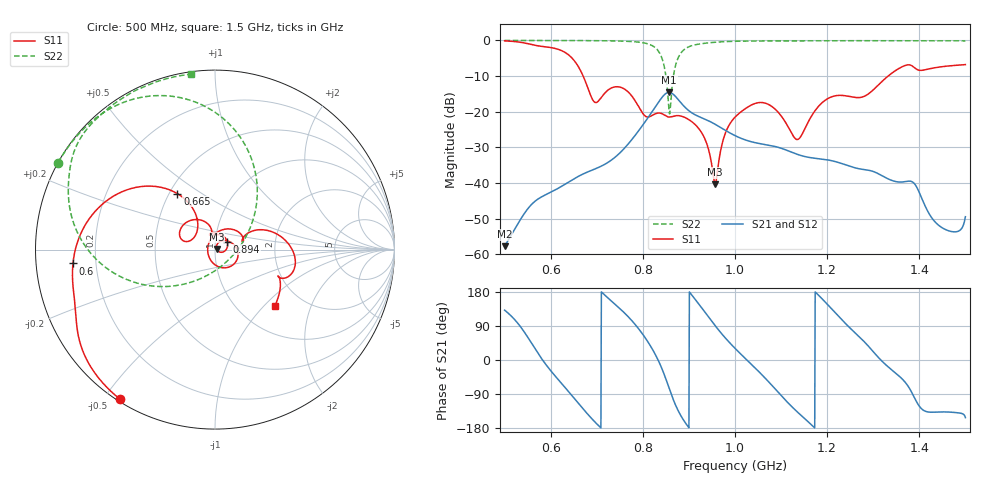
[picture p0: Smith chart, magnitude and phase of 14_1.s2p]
! TOUCHSTONE file generated by CST MICROWAVE STUDIO
! Date and time: Mon Oct 26 12:06:20 2020
! Project name: Scenario_1_Circular_Tissue_out_of_Line_v2.cst
! Parameters = {dy1=-121.1; L_HA=400; MT=2.54; Rad_Dielectric=30; Rad_Lower=7.3; Rad_Upper=30; a_HA=580; a_WG=246; b_HA=500; b_WG=121; c_HA=0; c_WG=187; d_feed=85; dx1=173; h_feed=15; h_lower=18; h_upper=40}
! Header version: 2018
! Port assignment regex: !\s*Touchstone port\s*([0-9]+)\s*=\s*(CST MWS port|CST DS port)\s*([0-9]+|Zmin|Zmax)\s*\(\"(.*)\"\)(\s*mode\s*([0-9]+))?.*
! Touchstone port assignment:
! Touchstone port 1 = CST MWS port 1 ("")
! Touchstone port 2 = CST MWS port 2 ("")
# GHz S DB R 50
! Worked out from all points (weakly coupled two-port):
!   1003 points, 500 MHz to 1.5 GHz, reference 50 ohm
!   highest |S21| = -14.56 dB at 857 MHz (marker M1); lowest = -57.7 dB at 500 MHz (marker M2)
!   lowest |S11| = -40.3 dB at 957 MHz (marker M3), VSWR 1.02, Z = 50.9 + j0.341 ohm
!   |S11| at or under -10 dB: 670.4 MHz to 1.332 GHz (661.7 MHz wide, 66.1 % of centre)
!   |S22| runs from -20.6 to 0.0 dB; largest |S21 - S12| = 2.1e-05
!   S11 on the Smith chart (normalised r, x): 500 MHz: 0.01, -0.55; 600 MHz: 0.11, -0.05; 665 MHz: 0.55, +0.40; 894 MHz: 1.14, +0.10; 1.5 GHz: 1.46, -1.16
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0.5  -0.11 -122.5  -57.71 131.6  -57.71 131.6  -0.01 151.1
0.6  -1.99 -174.5  -42.59 -28.1  -42.59 -28.1  -0.02 144.1
0.665  -8.51 123.9  -37.79 -121.3  -37.79 -121.3  -0.04 138.5
0.667  -9.03 122.3  -37.67 -124.1  -37.67 -124.1  -0.04 138.3
0.696  -17.37 142.5  -36.05 -163.6  -36.05 -163.6  -0.07 135.3
0.748  -13.03 140.9  -31.82 138.1  -31.82 138.1  -0.16 127.9
0.8  -20.50 101.4  -23.72 67.5  -23.72 67.5  -0.64 112.9
0.834  -20.35 99.8  -17.33 -2.4  -17.33 -2.4  -3.04 83.6
0.857  -21.49 79.6  -14.56 -74.3  -14.56 -74.3  -19.93 -22.8
0.874  -21.08 62.5  -16.17 -127.0  -16.17 -127.0  -5.72 -161.1
0.894  -21.78 33.2  -19.05 -168.8  -19.05 -168.8  -2.17 172.1
0.933  -27.16 -19.1  -21.98 129.1  -21.98 129.1  -0.82 153.3
0.957  -40.31 20.3  -23.53 90.4  -23.53 90.4  -0.50 147.7
0.977  -26.78 62.6  -25.06 60.9  -25.06 60.9  -0.34 143.9
1  -21.54 35.5  -26.70 30.8  -26.70 30.8  -0.23 140.3
1.068  -17.69 -42.2  -29.26 -51.1  -29.26 -51.1  -0.15 132.4
1.135  -27.80 179.3  -31.94 -136.8  -31.94 -136.8  -0.12 126.7
1.167  -21.01 88.6  -32.94 -172.2  -32.94 -172.2  -0.11 124.1
1.334  -9.80 18.6  -38.94 -19.8  -38.94 -19.8  -0.09 111.5
1.387  -7.38 -21.4  -39.87 -93.7  -39.87 -93.7  -0.09 107.3
1.454  -7.29 -33.8  -52.87 -137.0  -52.87 -137.0  -0.10 101.8
1.5  -6.78 -43.1  -49.45 -152.1  -49.43 -152.4  -0.12 97.7
